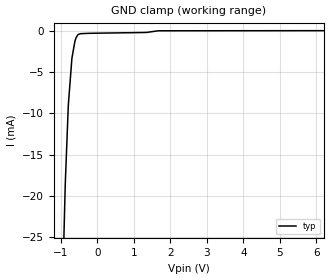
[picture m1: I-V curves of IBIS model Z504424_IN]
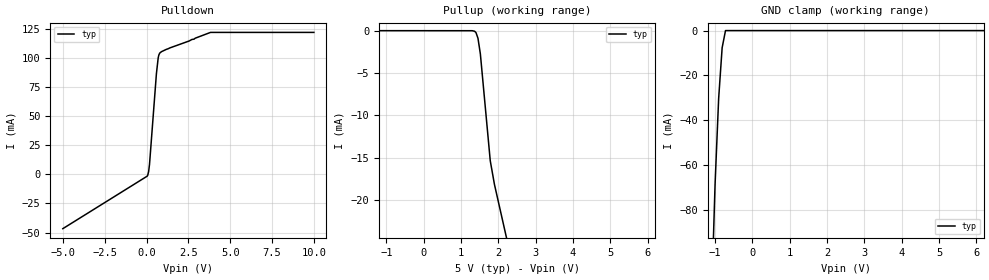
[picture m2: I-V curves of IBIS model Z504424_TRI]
| YOU ARE ONLY AUTHORIZED TO USE THIS SOFTWARE
| ACCORDING TO LICENSOR'S LICENSE RESTRICTIONS.
[IBIS Ver] 3.1
[File Name] sn54ls253j.ibs
[File Rev] 2.0
[Source] Measured and created by ICX Technology
[Date] Friday 7/14/00 9:08:14 AM
[Copyright]
| (C) COPYRIGHT 1993-2000
| MENTOR GRAPHICS CORPORATION
| ICX STANDARD LIBRARY, ICX PROJECT MODELING,
| ICX CUSTOM MODELING, ICX VENDOR MODEL
| ALL RIGHTS RESERVED.
| THE FOLLOWING ARE TRADEMARKS OR SERVICE MARKS OF
| MENTOR GRAPHICS CORPORATION:ICX (R), ICX STANDARD
| LIBRARY(R), ICX PROJECT MODELING(R), ICX CUSTOM
| MODELING(R), qualityIBIS(TM), MODELVIEWER(TM),
| AND MODELEDITOR(TM)
| ALL COPIES OF SOFTWARE, INCLUDING BUT NOT LIMITED TO
| ANY MODIFICATIONS, ENHANCEMENTS OR DERIVATIVE WORKS,
| MUST CONTAIN ALL MENTOR GRAPHICS CORPORATION'S
| NOTICES AND LEGENDS, INCLUDING THOSE EMBEDDED IN
| SOFTWARE AND THOSE AFFIXED TO SOFTWARE MEDIUM
| AND CONTAINER, AS RECEIVED FROM MENTOR GRAPHICS
| CORPORATION.
|  ZAP Model Builder 2.7
[Component] SN54LS253J
[Manufacturer] OnSemiconductor
[Package]
| variable   typ   min   max
R_pkg  .212ohms NA NA
L_pkg  4.758nH NA NA
C_pkg  1.944pF NA NA
[Pin] signal_name  model_name  R_pin  L_pin C_pin
1 _G1 Z504424_IN .224 7.258n 2.683p
2 B Z504424_IN .216 5.258n 2.19p
3 C3A Z504424_IN .208 3.758n 1.697p
4 C2A Z504424_IN .2 2.758n 1.204p
5 C1A Z504424_IN .2 2.758n 1.204p
6 C0A Z504424_IN .208 3.758n 1.697p
7 Y1 Z504424_TRI .216 5.258n 2.19p
8 GND GND .224 7.258n 2.683p
9 Y2 Z504424_TRI .224 7.258n 2.683p
10 C0B Z504424_IN .216 5.258n 2.19p
11 C1B Z504424_IN .208 3.758n 1.697p
12 C2B Z504424_IN .2 2.758n 1.204p
13 C3B Z504424_IN .2 2.758n 1.204p
14 A Z504424_IN .208 3.758n 1.697p
15 _G2 Z504424_IN .216 5.258n 2.19p
16 VCC POWER .224 7.258n 2.683p
| Models and submodels in the file (2): Z504424_IN (Input), Z504424_TRI (3-state)
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| (C) COPYRIGHT 1993-2000
| MENTOR GRAPHICS CORPORATION
| ICX STANDARD LIBRARY, ICX PROJECT MODELING,
| ICX CUSTOM MODELING, ICX VENDOR MODEL
| ALL RIGHTS RESERVED.
| THE FOLLOWING ARE TRADEMARKS OR SERVICE MARKS OF
| MENTOR GRAPHICS CORPORATION:ICX (R), ICX STANDARD
| LIBRARY(R), ICX PROJECT MODELING(R), ICX CUSTOM
| MODELING(R), qualityIBIS(TM), MODELVIEWER(TM),
| AND MODELEDITOR(TM)
| ALL COPIES OF SOFTWARE, INCLUDING BUT NOT LIMITED TO
| ANY MODIFICATIONS, ENHANCEMENTS OR DERIVATIVE WORKS,
| MUST CONTAIN ALL MENTOR GRAPHICS CORPORATION'S
| NOTICES AND LEGENDS, INCLUDING THOSE EMBEDDED IN
| SOFTWARE AND THOSE AFFIXED TO SOFTWARE MEDIUM
| AND CONTAINER, AS RECEIVED FROM MENTOR GRAPHICS
| CORPORATION.
| Model Application Version 1.89 2/18/99.
[Model] Z504424_IN
Model_type Input
Vinl = 800.0mV
Vinh = 2.000V
C_comp 4.000pF NA NA
| variable typ   min   max
[Voltage Range] 5.000V NA NA
[GND Clamp Reference] 0.000V NA NA
[POWER Clamp Reference] 5.000V NA NA
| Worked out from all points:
|   GND clamp passes 1 mA (typ) near -0.59 V on its own axis
[GND Clamp]
-5V       -727mA     NA         NA
-878.8mV  -18.62mA   NA         NA
-795.7mV  -9.077mA   NA         NA
-696.8mV  -3.345mA   NA         NA
-615.2mV  -1.29mA    NA         NA
-581.1mV  -829.5uA   NA         NA
-527.3mV  -460.9uA   NA         NA
-463.8mV  -360.2uA   NA         NA
-231.9mV  -314.3uA   NA         NA
1.345V    -210.6uA   NA         NA
1.665V    -7.386uA   NA         NA
10V       17.83uA    NA         NA
[POWER Clamp]
-5V       0A         NA         NA
10V       0A         NA         NA
| (C) COPYRIGHT 1993-2000
| MENTOR GRAPHICS CORPORATION
| ICX STANDARD LIBRARY, ICX PROJECT MODELING,
| ICX CUSTOM MODELING, ICX VENDOR MODEL
| ALL RIGHTS RESERVED.
| THE FOLLOWING ARE TRADEMARKS OR SERVICE MARKS OF
| MENTOR GRAPHICS CORPORATION:ICX (R), ICX STANDARD
| LIBRARY(R), ICX PROJECT MODELING(R), ICX CUSTOM
| MODELING(R), qualityIBIS(TM), MODELVIEWER(TM),
| AND MODELEDITOR(TM)
| ALL COPIES OF SOFTWARE, INCLUDING BUT NOT LIMITED TO
| ANY MODIFICATIONS, ENHANCEMENTS OR DERIVATIVE WORKS,
| MUST CONTAIN ALL MENTOR GRAPHICS CORPORATION'S
| NOTICES AND LEGENDS, INCLUDING THOSE EMBEDDED IN
| SOFTWARE AND THOSE AFFIXED TO SOFTWARE MEDIUM
| AND CONTAINER, AS RECEIVED FROM MENTOR GRAPHICS
| CORPORATION.
| Model Application Version 1.89 2/18/99.
[Model] Z504424_TRI
Model_type 3-state
Vref=588.0mV
Rref=588.5ohms
Cref=45.00pF
Vmeas=1.300V
C_comp 8.000pF NA NA
| variable typ   min   max
[Voltage Range] 5.000V NA NA
[POWER Clamp Reference] 5.000V NA NA
[Pullup Reference] 5.000V NA NA
[Pulldown Reference] 0.000V NA NA
[GND Clamp Reference] 0.000V NA NA
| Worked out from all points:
|   slope of the pulldown table from 0 to 0.75 V, typ, clamps not added: 7.14 ohm
|   GND clamp passes 1 mA (typ) near -0.73 V on its own axis
[GND Clamp]
-5V       -2.669A    NA         NA
-1.113V   -130mA     NA         NA
-1V       -68.53mA   NA         NA
-903.9mV  -30.24mA   NA         NA
-810.5mV  -7.654mA   NA         NA
-720.4mV  0A         NA         NA
10V       0A         NA         NA
[Pulldown]
-5V       -46.67mA   NA         NA
68.44mV   -899uA     NA         NA
127.8mV   2.507mA    NA         NA
180.6mV   8.839mA    NA         NA
591.5mV   86.7mA     NA         NA
698.2mV   100.4mA    NA         NA
736.3mV   102.8mA    NA         NA
791.1mV   104.5mA    NA         NA
893.6mV   105.7mA    NA         NA
3.825V    122.3mA    NA         NA
10V       122.3mA    NA         NA
[Pullup]
-5V       16.79uA    NA         NA
1.301V    142.7nA    NA         NA
1.363V    -61.14uA   NA         NA
1.401V    -227.6uA   NA         NA
1.454V    -894.6uA   NA         NA
1.518V    -2.747mA   NA         NA
1.783V    -15.36mA   NA         NA
1.895V    -18.15mA   NA         NA
10V       -176.3mA   NA         NA
[POWER Clamp]
-5V       0A         NA         NA
10V       0A         NA         NA
[Ramp]
| variable typ min max
dV/dt_r 1.989/6.757n NA NA
dV/dt_f 1.989/2.723n NA NA
R_load = 500.0Ohms
